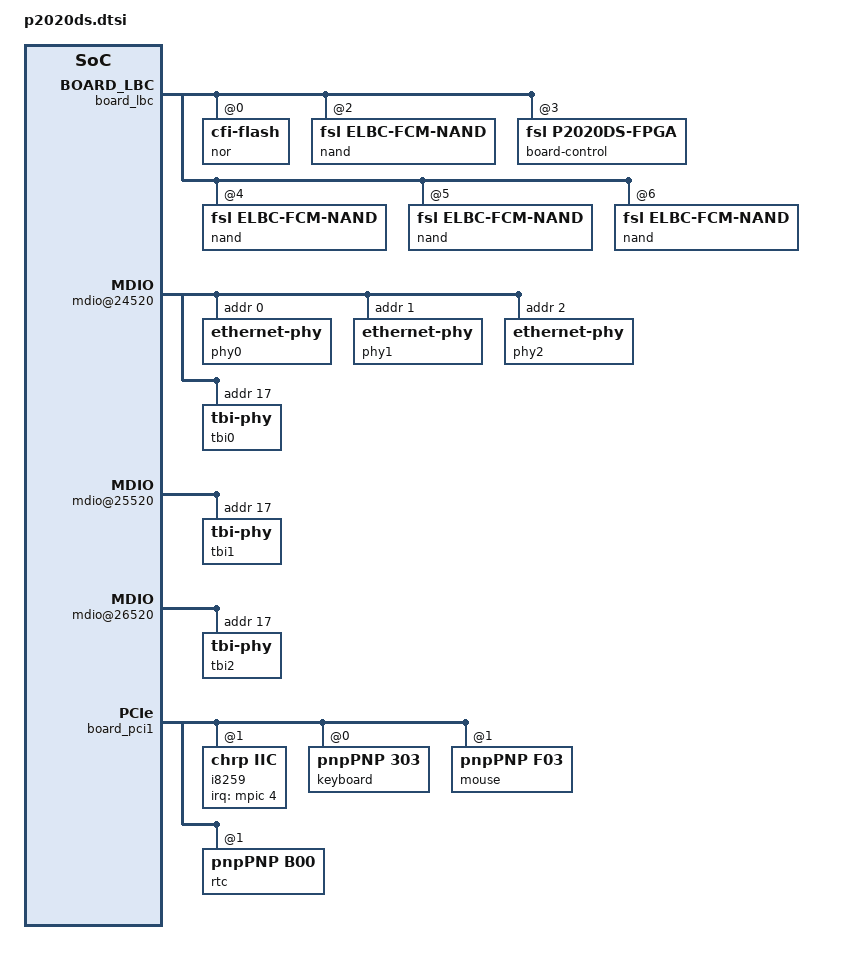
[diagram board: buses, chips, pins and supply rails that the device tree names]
/*
 * P2020DS Device Tree Source stub (no addresses or top-level ranges)
 *
 * Copyright 2011-2012 Freescale Semiconductor Inc.
 *
 * Redistribution and use in source and binary forms, with or without
 * modification, are permitted provided that the following conditions are met:
 *     * Redistributions of source code must retain the above copyright
 *       notice, this list of conditions and the following disclaimer.
 *     * Redistributions in binary form must reproduce the above copyright
 *       notice, this list of conditions and the following disclaimer in the
 *       documentation and/or other materials provided with the distribution.
 *     * Neither the name of Freescale Semiconductor nor the
 *       names of its contributors may be used to endorse or promote products
 *       derived from this software without specific prior written permission.
 *
 *
 * ALTERNATIVELY, this software may be distributed under the terms of the
 * GNU General Public License ("GPL") as published by the Free Software
 * Foundation, either version 2 of that License or (at your option) any
 * later version.
 *
 * THIS SOFTWARE IS PROVIDED BY Freescale Semiconductor ``AS IS'' AND ANY
 * EXPRESS OR IMPLIED WARRANTIES, INCLUDING, BUT NOT LIMITED TO, THE IMPLIED
 * WARRANTIES OF MERCHANTABILITY AND FITNESS FOR A PARTICULAR PURPOSE ARE
 * DISCLAIMED. IN NO EVENT SHALL Freescale Semiconductor BE LIABLE FOR ANY
 * DIRECT, INDIRECT, INCIDENTAL, SPECIAL, EXEMPLARY, OR CONSEQUENTIAL DAMAGES
 * (INCLUDING, BUT NOT LIMITED TO, PROCUREMENT OF SUBSTITUTE GOODS OR SERVICES;
 * LOSS OF USE, DATA, OR PROFITS; OR BUSINESS INTERRUPTION) HOWEVER CAUSED AND
 * ON ANY THEORY OF LIABILITY, WHETHER IN CONTRACT, STRICT LIABILITY, OR TORT
 * (INCLUDING NEGLIGENCE OR OTHERWISE) ARISING IN ANY WAY OUT OF THE USE OF THIS
 * SOFTWARE, EVEN IF ADVISED OF THE POSSIBILITY OF SUCH DAMAGE.
 */

&board_lbc {
	nor@0,0 {
		#address-cells = <1>;
		#size-cells = <1>;
		compatible = "cfi-flash";
		reg = <0x0 0x0 0x8000000>;
		bank-width = <2>;
		device-width = <1>;

		ramdisk@0 {
			reg = <0x0 0x03000000>;
			read-only;
		};

		diagnostic@3000000 {
			reg = <0x03000000 0x00e00000>;
			read-only;
		};

		dink@3e00000 {
			reg = <0x03e00000 0x00200000>;
			read-only;
		};

		kernel@4000000 {
			reg = <0x04000000 0x00400000>;
			read-only;
		};

		jffs2@4400000 {
			reg = <0x04400000 0x03b00000>;
		};

		dtb@7f00000 {
			reg = <0x07f00000 0x00080000>;
			read-only;
		};

		u-boot@7f80000 {
			reg = <0x07f80000 0x00080000>;
			read-only;
		};
	};

	nand@2,0 {
		#address-cells = <1>;
		#size-cells = <1>;
		compatible = "fsl,elbc-fcm-nand";
		reg = <0x2 0x0 0x40000>;

		u-boot@0 {
			reg = <0x0 0x02000000>;
			read-only;
		};

		jffs2@2000000 {
			reg = <0x02000000 0x10000000>;
		};

		ramdisk@12000000 {
			reg = <0x12000000 0x08000000>;
			read-only;
		};

		kernel@1a000000 {
			reg = <0x1a000000 0x04000000>;
		};

		dtb@1e000000 {
			reg = <0x1e000000 0x01000000>;
			read-only;
		};

		empty@1f000000 {
			reg = <0x1f000000 0x21000000>;
		};
	};

	board-control@3,0 {
		compatible = "fsl,p2020ds-fpga", "fsl,fpga-ngpixis";
		reg = <0x3 0x0 0x30>;
	};

	nand@4,0 {
		compatible = "fsl,elbc-fcm-nand";
		reg = <0x4 0x0 0x40000>;
	};

	nand@5,0 {
		compatible = "fsl,elbc-fcm-nand";
		reg = <0x5 0x0 0x40000>;
	};

	nand@6,0 {
		compatible = "fsl,elbc-fcm-nand";
		reg = <0x6 0x0 0x40000>;
	};
};

&board_soc {
	usb@22000 {
		phy_type = "ulpi";
		dr_mode = "host";
	};

	mdio@24520 {
		phy0: ethernet-phy@0 {
			interrupts = <3 1 0 0>;
			reg = <0x0>;
		};
		phy1: ethernet-phy@1 {
			interrupts = <3 1 0 0>;
			reg = <0x1>;
		};
		phy2: ethernet-phy@2 {
			interrupts = <3 1 0 0>;
			reg = <0x2>;
		};
		tbi0: tbi-phy@11 {
			reg = <0x11>;
			device_type = "tbi-phy";
		};

	};

	mdio@25520 {
		tbi1: tbi-phy@11 {
			reg = <0x11>;
			device_type = "tbi-phy";
		};
	};

	mdio@26520 {
		tbi2: tbi-phy@11 {
			reg = <0x11>;
			device_type = "tbi-phy";
		};

	};

	ptp_clock@24e00 {
		fsl,tclk-period = <5>;
		fsl,tmr-prsc = <200>;
		fsl,tmr-add = <0xCCCCCCCD>;
		fsl,tmr-fiper1 = <0x3B9AC9FB>;
		fsl,tmr-fiper2 = <0x0001869B>;
		fsl,max-adj = <249999999>;
	};

	enet0: ethernet@24000 {
		tbi-handle = <&tbi0>;
		phy-handle = <&phy0>;
		phy-connection-type = "rgmii-id";
	};

	enet1: ethernet@25000 {
		tbi-handle = <&tbi1>;
		phy-handle = <&phy1>;
		phy-connection-type = "rgmii-id";

	};

	enet2: ethernet@26000 {
		tbi-handle = <&tbi2>;
		phy-handle = <&phy2>;
		phy-connection-type = "rgmii-id";
	};
};

&board_pci1 {
	pcie@0 {
		interrupt-map-mask = <0xff00 0x0 0x0 0x7>;
		interrupt-map = <

			// IDSEL 0x11 func 0 - PCI slot 1
			0x8800 0x0 0x0 0x1 &i8259 0x9 0x2
			0x8800 0x0 0x0 0x2 &i8259 0xa 0x2

			// IDSEL 0x11 func 1 - PCI slot 1
			0x8900 0x0 0x0 0x1 &i8259 0x9 0x2
			0x8900 0x0 0x0 0x2 &i8259 0xa 0x2

			// IDSEL 0x11 func 2 - PCI slot 1
			0x8a00 0x0 0x0 0x1 &i8259 0x9 0x2
			0x8a00 0x0 0x0 0x2 &i8259 0xa 0x2

			// IDSEL 0x11 func 3 - PCI slot 1
			0x8b00 0x0 0x0 0x1 &i8259 0x9 0x2
			0x8b00 0x0 0x0 0x2 &i8259 0xa 0x2

			// IDSEL 0x11 func 4 - PCI slot 1
			0x8c00 0x0 0x0 0x1 &i8259 0x9 0x2
			0x8c00 0x0 0x0 0x2 &i8259 0xa 0x2

			// IDSEL 0x11 func 5 - PCI slot 1
			0x8d00 0x0 0x0 0x1 &i8259 0x9 0x2
			0x8d00 0x0 0x0 0x2 &i8259 0xa 0x2

			// IDSEL 0x11 func 6 - PCI slot 1
			0x8e00 0x0 0x0 0x1 &i8259 0x9 0x2
			0x8e00 0x0 0x0 0x2 &i8259 0xa 0x2

			// IDSEL 0x11 func 7 - PCI slot 1
			0x8f00 0x0 0x0 0x1 &i8259 0x9 0x2
			0x8f00 0x0 0x0 0x2 &i8259 0xa 0x2

			// IDSEL 0x1d  Audio
			0xe800 0x0 0x0 0x1 &i8259 0x6 0x2

			// IDSEL 0x1e Legacy
			0xf000 0x0 0x0 0x1 &i8259 0x7 0x2
			0xf100 0x0 0x0 0x1 &i8259 0x7 0x2

			// IDSEL 0x1f IDE/SATA
			0xf800 0x0 0x0 0x1 &i8259 0xe 0x2
			0xf900 0x0 0x0 0x1 &i8259 0x5 0x2
			>;

		uli1575@0 {
			reg = <0x0 0x0 0x0 0x0 0x0>;
			#size-cells = <2>;
			#address-cells = <3>;
			ranges = <0x2000000 0x0 0xa0000000
				  0x2000000 0x0 0xa0000000
				  0x0 0x20000000

				  0x1000000 0x0 0x0
				  0x1000000 0x0 0x0
				  0x0 0x10000>;
			isa@1e {
				device_type = "isa";
				#interrupt-cells = <2>;
				#size-cells = <1>;
				#address-cells = <2>;
				reg = <0xf000 0x0 0x0 0x0 0x0>;
				ranges = <0x1 0x0 0x1000000 0x0 0x0
					  0x1000>;
				interrupt-parent = <&i8259>;

				i8259: interrupt-controller@20 {
					reg = <0x1 0x20 0x2
					       0x1 0xa0 0x2
					       0x1 0x4d0 0x2>;
					interrupt-controller;
					device_type = "interrupt-controller";
					#address-cells = <0>;
					#interrupt-cells = <2>;
					compatible = "chrp,iic";
					interrupts = <4 1 0 0>;
					interrupt-parent = <&mpic>;
				};

				i8042@60 {
					#size-cells = <0>;
					#address-cells = <1>;
					reg = <0x1 0x60 0x1 0x1 0x64 0x1>;
					interrupts = <1 3 12 3>;
					interrupt-parent =
						<&i8259>;

					keyboard@0 {
						reg = <0x0>;
						compatible = "pnpPNP,303";
					};

					mouse@1 {
						reg = <0x1>;
						compatible = "pnpPNP,f03";
					};
				};

				rtc@70 {
					compatible = "pnpPNP,b00";
					reg = <0x1 0x70 0x2>;
				};

				gpio@400 {
					reg = <0x1 0x400 0x80>;
				};
			};
		};
	};
};
